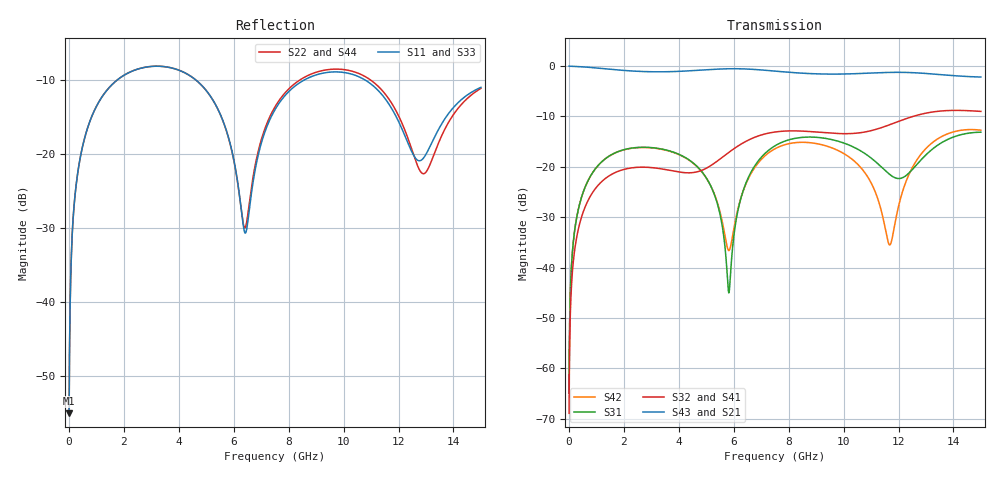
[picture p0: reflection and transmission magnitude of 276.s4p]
! Created with skrf 1.8.0 (http://scikit-rf.org).
# GHz S RI R 50.0
!freq ReS11 ImS11 ReS12 ImS12 ReS13 ImS13
! ReS14 ImS14
! ReS21 ImS21 ReS22 ImS22 ReS23 ImS23
! ReS24 ImS24
! ReS31 ImS31 ReS32 ImS32 ReS33 ImS33
! ReS34 ImS34
! ReS41 ImS41 ReS42 ImS42 ReS43 ImS43
! ReS44 ImS44
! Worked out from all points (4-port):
!   2499 points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, 5 MHz to 15 GHz, reference 50 ohm
!   strongest paths, dB at 5 MHz, 3.476 GHz, 7.19 GHz, 11.1 GHz, 15 GHz:
!     S43: 0.0, -1.1, -0.8, -1.4, -2.2
!     S21: 0.0, -1.1, -0.8, -1.4, -2.2
!     S32: -68.9, -20.5, -13.4, -12.7, -9.0
!     S41: -68.9, -20.5, -13.4, -12.7, -9.0
!     S31: -65.0, -16.6, -17.1, -18.7, -13.1
!     S42: -65.0, -16.6, -17.6, -24.3, -12.7
!   lowest |S11| = -55.1 dB at 5 MHz (marker M1), VSWR 1.00, Z = 50.1 + j0.107 ohm
!   |S11| at or under -10 dB: start of sweep to 1.744 GHz; 4.633 GHz to 8.548 GHz (3.915 GHz wide, 59.4 % of centre); 10.8 GHz to end of sweep
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0.005  0.0014 0.00107  0.9986 -0.00273  6.99e-05 0.000561  -6.79e-05 -0.00035
       0.9986 -0.00273  0.0014 0.00107  -6.79e-05 -0.00035  6.99e-05 0.000561
       6.99e-05 0.000561  -6.79e-05 -0.00035  0.0014 0.00107  0.9986 -0.00273
       -6.79e-05 -0.00035  6.99e-05 0.000561  0.9986 -0.00273  0.0014 0.00107
0.3126303  0.0185 0.071  0.9748 -0.1709  0.00837 0.0338  -0.00693 -0.021
           0.9748 -0.1709  0.0185 0.071  -0.00694 -0.021  0.00828 0.0338
           0.00837 0.0338  -0.00694 -0.021  0.0185 0.071  0.9748 -0.1709
           -0.00693 -0.021  0.00828 0.0338  0.9748 -0.1709  0.0185 0.071
1.569404  0.2263 0.1905  0.6382 -0.672  0.1121 0.0715  -0.0822 -0.0203
          0.6382 -0.672  0.2266 0.1903  -0.0822 -0.0203  0.1109 0.0729
          0.1121 0.0715  -0.0822 -0.0203  0.2263 0.1905  0.6382 -0.672
          -0.0822 -0.0203  0.1109 0.0729  0.6382 -0.672  0.2266 0.1903
5.821175  0.0608 -0.1119  -0.8773 -0.3401  -0.00555 -0.000752  -0.047 0.131
          -0.8773 -0.3401  0.0616 -0.1103  -0.0459 0.1314  -0.0144 -0.00315
          -0.00555 -0.000752  -0.0459 0.1314  0.0625 -0.1108  -0.8774 -0.3402
          -0.047 0.131  -0.0144 -0.00315  -0.8774 -0.3402  0.0595 -0.1105
6.402668  0.029 -0.00502  -0.9354 -0.0596  0.0117 0.0633  -0.00735 0.1766
          -0.9354 -0.0596  0.0316 -0.002  -0.00593 0.1765  -0.00469 0.0633
          0.0117 0.0633  -0.00593 0.1765  0.0315 -0.00442  -0.9354 -0.0596
          -0.00735 0.1766  -0.00469 0.0633  -0.9354 -0.0596  0.029 -0.00147
10.37307  0.3347 -0.0808  0.1726 0.822  0.084 -0.1322  0.1952 -0.089
          0.1726 0.822  0.346 -0.1045  0.1945 -0.0911  0.0943 -0.066
          0.084 -0.1322  0.1945 -0.0911  0.3345 -0.0822  0.172 0.8221
          0.1952 -0.089  0.0943 -0.066  0.172 0.8221  0.3466 -0.1025
15  0.2721 0.0782  0.505 -0.5925  0.219 0.0266  -0.3133 -0.1691
    0.505 -0.5925  0.2644 0.0883  -0.3146 -0.1643  0.2272 0.0416
    0.219 0.0266  -0.3146 -0.1643  0.2752 0.0713  0.5065 -0.5915
    -0.3133 -0.1691  0.2272 0.0416  0.5065 -0.5915  0.2595 0.0954
